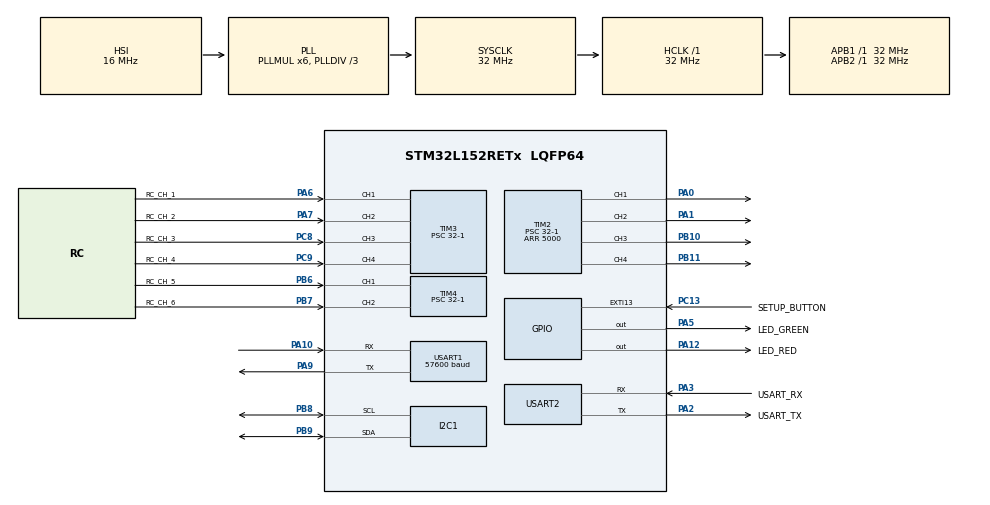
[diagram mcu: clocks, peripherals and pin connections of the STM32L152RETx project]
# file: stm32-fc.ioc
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Mcu.Family=STM32L1
Mcu.Name=STM32L152RETx
Mcu.Package=LQFP64
NVIC.EXTI15_10_IRQn=true\:0\:0\:false\:false\:true\:true\:true\:true
NVIC.PriorityGroup=NVIC_PRIORITYGROUP_0
NVIC.TIM3_IRQn=true\:0\:0\:false\:false\:true\:true\:true\:true
NVIC.TIM4_IRQn=true\:0\:0\:false\:false\:true\:true\:true\:true
NVIC.USART1_IRQn=true\:0\:0\:false\:false\:true\:true\:true\:true
NVIC.USART2_IRQn=true\:0\:0\:false\:false\:true\:true\:true\:true
PA0-WKUP1.Signal=S_TIM2_CH1_ETR
PA1.Signal=S_TIM2_CH2
PA10.Mode=Asynchronous
PA10.Signal=USART1_RX
PA12.GPIO_Label=LED_RED
PA12.Signal=GPIO_Output
PA13.GPIO_Label=TMS
PA13.Mode=Serial_Wire
PA13.Signal=SYS_JTMS-SWDIO
PA14.GPIO_Label=TCK
PA14.Mode=Serial_Wire
PA14.Signal=SYS_JTCK-SWCLK
PA2.GPIO_Label=USART_TX
PA2.Mode=Asynchronous
PA2.Signal=USART2_TX
PA3.GPIO_Label=USART_RX
PA3.Mode=Asynchronous
PA3.Signal=USART2_RX
PA5.GPIO_Label=LED_GREEN
PA5.Signal=GPIO_Output
PA6.GPIO_Label=RC_CH_1
PA6.Signal=S_TIM3_CH1
PA7.GPIO_Label=RC_CH_2
PA7.Signal=S_TIM3_CH2
PA9.Mode=Asynchronous
PA9.Signal=USART1_TX
PB10.Signal=S_TIM2_CH3
PB11.Signal=S_TIM2_CH4
PB3.GPIO_Label=SWO
PB3.Signal=SYS_JTDO-TRACESWO
PB6.GPIO_Label=RC_CH_5
PB6.Signal=S_TIM4_CH1
PB7.GPIO_Label=RC_CH_6
PB7.Signal=S_TIM4_CH2
PB8.Mode=I2C
PB8.Signal=I2C1_SCL
PB9.Mode=I2C
PB9.Signal=I2C1_SDA
PC13-WKUP2.GPIO_Label=SETUP_BUTTON
PC13-WKUP2.Signal=GPXTI13
PC14-OSC32_IN.Mode=LSE-External-Oscillator
PC14-OSC32_IN.Signal=RCC_OSC32_IN
PC15-OSC32_OUT.Mode=LSE-External-Oscillator
PC15-OSC32_OUT.Signal=RCC_OSC32_OUT
PC8.GPIO_Label=RC_CH_3
PC8.Signal=S_TIM3_CH3
PC9.GPIO_Label=RC_CH_4
PC9.Signal=S_TIM3_CH4
PH0-OSC_IN.Mode=HSE-External-Clock-Source
PH0-OSC_IN.Signal=RCC_OSC_IN
PH1-OSC_OUT.Signal=RCC_OSC_OUT
ProjectManager.HeapSize=0x200
ProjectManager.StackSize=0x400
ProjectManager.TargetToolchain=STM32CubeIDE
RCC.48MHZClocksFreq_Value=48000000
RCC.AHBFreq_Value=32000000
RCC.APB1Freq_Value=32000000
RCC.APB1TimFreq_Value=32000000
RCC.APB2Freq_Value=32000000
RCC.APB2TimFreq_Value=32000000
RCC.HCLKFreq_Value=32000000
RCC.HSE_VALUE=8000000
RCC.HSI_VALUE=16000000
RCC.MSI_VALUE=2097000
RCC.PLLDIV=RCC_PLL_DIV3
RCC.PLLMUL=RCC_PLL_MUL6
RCC.RTCClockSelectionVirtual=RCC_RTCCLKSOURCE_LSE
RCC.SYSCLKFreq_VALUE=32000000
RCC.SYSCLKSource=RCC_SYSCLKSOURCE_PLLCLK
RCC.USBOutput=48000000
RCC.VCOOutputFreq_Value=96000000
SH.S_TIM2_CH1_ETR.0=TIM2_CH1,PWM Generation1 CH1
SH.S_TIM2_CH2.0=TIM2_CH2,PWM Generation2 CH2
SH.S_TIM2_CH3.0=TIM2_CH3,PWM Generation3 CH3
SH.S_TIM2_CH4.0=TIM2_CH4,PWM Generation4 CH4
SH.S_TIM3_CH1.0=TIM3_CH1,Input_Capture1_from_TI1
SH.S_TIM3_CH2.0=TIM3_CH2,Input_Capture2_from_TI2
SH.S_TIM3_CH3.0=TIM3_CH3,Input_Capture3_from_TI3
SH.S_TIM3_CH4.0=TIM3_CH4,Input_Capture4_from_TI4
SH.S_TIM4_CH1.0=TIM4_CH1,Input_Capture1_from_TI1
SH.S_TIM4_CH2.0=TIM4_CH2,Input_Capture2_from_TI2
TIM2.AutoReloadPreload=TIM_AUTORELOAD_PRELOAD_DISABLE
TIM2.Channel-PWM\ Generation1\ CH1=TIM_CHANNEL_1
TIM2.Channel-PWM\ Generation2\ CH2=TIM_CHANNEL_2
TIM2.Channel-PWM\ Generation3\ CH3=TIM_CHANNEL_3
TIM2.Channel-PWM\ Generation4\ CH4=TIM_CHANNEL_4
TIM2.Period=5000
TIM2.Prescaler=32-1
TIM2.Pulse-PWM\ Generation1\ CH1=1001
TIM2.Pulse-PWM\ Generation2\ CH2=1002
TIM2.Pulse-PWM\ Generation3\ CH3=1003
TIM2.Pulse-PWM\ Generation4\ CH4=1004
TIM3.Channel-Input_Capture1_from_TI1=TIM_CHANNEL_1
TIM3.Channel-Input_Capture2_from_TI2=TIM_CHANNEL_2
TIM3.Channel-Input_Capture3_from_TI3=TIM_CHANNEL_3
TIM3.Channel-Input_Capture4_from_TI4=TIM_CHANNEL_4
TIM3.ICPolarity_CH1=TIM_INPUTCHANNELPOLARITY_BOTHEDGE
TIM3.ICPolarity_CH2=TIM_INPUTCHANNELPOLARITY_BOTHEDGE
TIM3.ICPolarity_CH3=TIM_INPUTCHANNELPOLARITY_BOTHEDGE
TIM3.ICPolarity_CH4=TIM_INPUTCHANNELPOLARITY_BOTHEDGE
TIM3.Prescaler=32-1
TIM4.Channel-Input_Capture1_from_TI1=TIM_CHANNEL_1
TIM4.Channel-Input_Capture2_from_TI2=TIM_CHANNEL_2
TIM4.ICPolarity_CH1=TIM_INPUTCHANNELPOLARITY_BOTHEDGE
TIM4.ICPolarity_CH2=TIM_INPUTCHANNELPOLARITY_BOTHEDGE
TIM4.Prescaler=32-1
USART1.BaudRate=57600
USART1.VirtualMode=VM_ASYNC
USART2.VirtualMode=VM_ASYNC
VP_TIM2_VS_ClockSourceINT.Mode=Internal
VP_TIM4_VS_ClockSourceINT.Mode=Internal
board=NUCLEO-L152RE

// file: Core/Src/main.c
/* USER CODE BEGIN Header */
/**
  ******************************************************************************
  * @file           : main.c
  * @brief          : Main program body
  ******************************************************************************
  * @attention
  *
  * Copyright (c) 2022 STMicroelectronics.
  * All rights reserved.
  *
  * This software is licensed under terms that can be found in the LICENSE file
  * in the root directory of this software component.
  * If no LICENSE file comes with this software, it is provided AS-IS.
  *
  ******************************************************************************
  */
/* USER CODE END Header */
#include "main.h"
#include "i2c.h"
#include "tim.h"
#include "usart.h"
#include "gpio.h"

/* USER CODE BEGIN Includes */
#include "rc_receiver.h"
#include "uart_interface.h"
#include "application.h"
#include "bno055_stm32.h"
#include "hmi_output_buffer.h"
#include "config.h"
#include "imu.h"

/* USER CODE END Includes */

/* USER CODE BEGIN PV */
uint8_t UART1_rxBuffer[1] = {0};
uint8_t UART2_rxBuffer[1] = {0};

/* USER CODE END PV */

void SystemClock_Config(void);

/* USER CODE BEGIN 0 */
//#ifdef __GNUC__
//#define PUTCHAR_PROTOTYPE int __io_putchar(int ch)
//#else
//#define PUTCHAR_PROTOTYPE int fputc(int ch, FILE *f)
//#endif
//
//PUTCHAR_PROTOTYPE {
////    HAL_UART_Transmit(&huart2, (uint8_t *) &ch, 1, 0xFFFF);
//    // HAL_UART_Transmit_IT(&huart2, (uint8_t *) &ch, 1);
//    UARTInterface_AddToSendBuffer((uint8_t) ch);
//    return ch;
//}
#include  <errno.h>
#include  <sys/unistd.h> // STDOUT_FILENO, STDERR_FILENO

int _write(int file, char *data, int len)
{
    if ((file != STDOUT_FILENO) && (file != STDERR_FILENO))
    {
        errno = EBADF;
        return -1;
    }

    // arbitrary timeout 1000
//    HAL_StatusTypeDef status =
//            HAL_UART_Transmit_IT(&huart2, (uint8_t*)data, len);
    HMIOutput_AddToBuffer(data, len);

    // return # of bytes written - as best we can tell
//    return (status == HAL_OK ? len : 0);
    return (len);
}
/* USER CODE END 0 */

int main(void)
{
  /* USER CODE BEGIN 1 */
    uint32_t now = 0;
  /* USER CODE END 1 */

  /* MCU Configuration--------------------------------------------------------*/

  /* Reset of all peripherals, Initializes the Flash interface and the Systick. */
  HAL_Init();

  /* Configure the system clock */
  SystemClock_Config();

  /* Initialize all configured peripherals */
  MX_GPIO_Init();
  MX_I2C1_Init();
  MX_USART2_UART_Init();
  MX_TIM4_Init();
  MX_TIM3_Init();
  MX_TIM2_Init();
  MX_USART1_UART_Init();
  /* USER CODE BEGIN 2 */

    // Setup UART to trigger interrupt on receipt of a character
#if HMI_UART_SELECT == HMI_UART_USART1
    HAL_UART_Receive_IT(&huart1, UART1_rxBuffer, 1);
#else
    HAL_UART_Receive_IT(&huart2, UART2_rxBuffer, 1);
#endif

    bool setupMode = !HAL_GPIO_ReadPin(SETUP_BUTTON_GPIO_Port, SETUP_BUTTON_Pin);
    bool imuInitOk = true;
    bno055_assignI2C(&hi2c1);
    HAL_Delay(1000);
    imuInitOk = IMU_Init();

//    bno055_axis_map_t axis = {
//            .x = BNO055_AXIS_X,
//            .x_sign = BNO055_AXIS_SIGN_NEGATIVE,
//            .y = BNO055_AXIS_Y,
//            .y_sign = BNO055_AXIS_SIGN_POSITIVE,
//            .z = BNO055_AXIS_Z,
//            .z_sign = BNO055_AXIS_SIGN_POSITIVE
//    };
//
//    bno055_setAxisMap(axis);

    // Start Timers for RC receiver input capture
    HAL_TIM_IC_Start_IT(&htim3, TIM_CHANNEL_1); // RC Channel 1
    HAL_TIM_IC_Start_IT(&htim3, TIM_CHANNEL_2); // RC Channel 2
    HAL_TIM_IC_Start_IT(&htim3, TIM_CHANNEL_3); // RC Channel 3
    HAL_TIM_IC_Start_IT(&htim3, TIM_CHANNEL_4); // RC Channel 4
    HAL_TIM_IC_Start_IT(&htim4, TIM_CHANNEL_1); // RC Channel 5
    HAL_TIM_IC_Start_IT(&htim4, TIM_CHANNEL_2); // RC Channel 6

    HAL_TIM_PWM_Start(&htim2, TIM_CHANNEL_1);
    HAL_TIM_PWM_Start(&htim2, TIM_CHANNEL_2);
    HAL_TIM_PWM_Start(&htim2, TIM_CHANNEL_3);
    HAL_TIM_PWM_Start(&htim2, TIM_CHANNEL_4);

    Application_Init(setupMode);
    if (!setupMode && !imuInitOk) {
        Application_SetMode(APPLICATION_MODE_ERROR);
    }

    uint32_t loopCounter = 0;
    uint32_t previousLoopCountr = 0;
    uint32_t loopCounterTimer = 1000;

  /* USER CODE END 2 */

  /* Infinite loop */
  /* USER CODE BEGIN WHILE */
    while (1) {

        now = HAL_GetTick();
        Application_OnTick(now);

//        loopCounter++;
//        if (now >= loopCounterTimer){
//            printf("Count: %u\r\n", loopCounter);
//            previousLoopCountr = loopCounter;
//            loopCounterTimer += 1000;
//            loopCounter = 0;
//        }

    /* USER CODE END WHILE */

    }
}

void SystemClock_Config(void)
{
  RCC_OscInitTypeDef RCC_OscInitStruct = {0};
  RCC_ClkInitTypeDef RCC_ClkInitStruct = {0};

  /** Configure the main internal regulator output voltage
  */
  __HAL_PWR_VOLTAGESCALING_CONFIG(PWR_REGULATOR_VOLTAGE_SCALE1);

  /** Initializes the RCC Oscillators according to the specified parameters
  * in the RCC_OscInitTypeDef structure.
  */
  RCC_OscInitStruct.OscillatorType = RCC_OSCILLATORTYPE_HSI;
  RCC_OscInitStruct.HSIState = RCC_HSI_ON;
  RCC_OscInitStruct.HSICalibrationValue = RCC_HSICALIBRATION_DEFAULT;
  RCC_OscInitStruct.PLL.PLLState = RCC_PLL_ON;
  RCC_OscInitStruct.PLL.PLLSource = RCC_PLLSOURCE_HSI;
  RCC_OscInitStruct.PLL.PLLMUL = RCC_PLL_MUL6;
  RCC_OscInitStruct.PLL.PLLDIV = RCC_PLL_DIV3;
  if (HAL_RCC_OscConfig(&RCC_OscInitStruct) != HAL_OK)
  {
    Error_Handler();
  }

  /** Initializes the CPU, AHB and APB buses clocks
  */
  RCC_ClkInitStruct.ClockType = RCC_CLOCKTYPE_HCLK|RCC_CLOCKTYPE_SYSCLK
                              |RCC_CLOCKTYPE_PCLK1|RCC_CLOCKTYPE_PCLK2;
  RCC_ClkInitStruct.SYSCLKSource = RCC_SYSCLKSOURCE_PLLCLK;
  RCC_ClkInitStruct.AHBCLKDivider = RCC_SYSCLK_DIV1;
  RCC_ClkInitStruct.APB1CLKDivider = RCC_HCLK_DIV1;
  RCC_ClkInitStruct.APB2CLKDivider = RCC_HCLK_DIV1;

  if (HAL_RCC_ClockConfig(&RCC_ClkInitStruct, FLASH_LATENCY_1) != HAL_OK)
  {
    Error_Handler();
  }
}

/* USER CODE BEGIN 4 */
void HAL_TIM_IC_CaptureCallback(TIM_HandleTypeDef *htim) {

    if (htim->Instance == TIM3 || htim->Instance == TIM4) { // RC Channel 1-6
        RC_TimerCallback(htim);
    } // End TIM3 or TIM4
}

void HAL_UART_RxCpltCallback(UART_HandleTypeDef *huart) {
    if (huart->Instance == USART2) {
#if HMI_UART_SELECT == HMI_UART_USART2
        UARTInterface_OnReceive(UART2_rxBuffer[0]);
        HAL_UART_Receive_IT(&huart2, UART2_rxBuffer, 1);
#endif
    }
    if (huart->Instance == USART1) {
#if HMI_UART_SELECT == HMI_UART_USART1
        UARTInterface_OnReceive(UART1_rxBuffer[0]);
        HAL_UART_Receive_IT(&huart1, UART1_rxBuffer, 1);
#endif
    }
}

void HAL_UART_TxCpltCallback(UART_HandleTypeDef *huart) {
    if (huart->Instance == USART2) {
#if HMI_UART_SELECT == HMI_UART_USART2
        HMIOutput_OnSendComplete();
#endif
    }
    if (huart->Instance == USART1) {
#if HMI_UART_SELECT == HMI_UART_USART1
        HMIOutput_OnSendComplete();
#endif
    }
}

// EXTI Line9 External Interrupt ISR Handler CallBackFun
void HAL_GPIO_EXTI_Callback(uint16_t GPIO_Pin)
{
    if(GPIO_Pin == SETUP_BUTTON_Pin) // If The INT Source Is EXTI Line9 (A9 Pin)
    {
        printf("Pressed\r\n");
        Application_OnButtonRelease();
    }
}

/* USER CODE END 4 */

void Error_Handler(void)
{
    __disable_irq();
    while (1) {
    }
}
